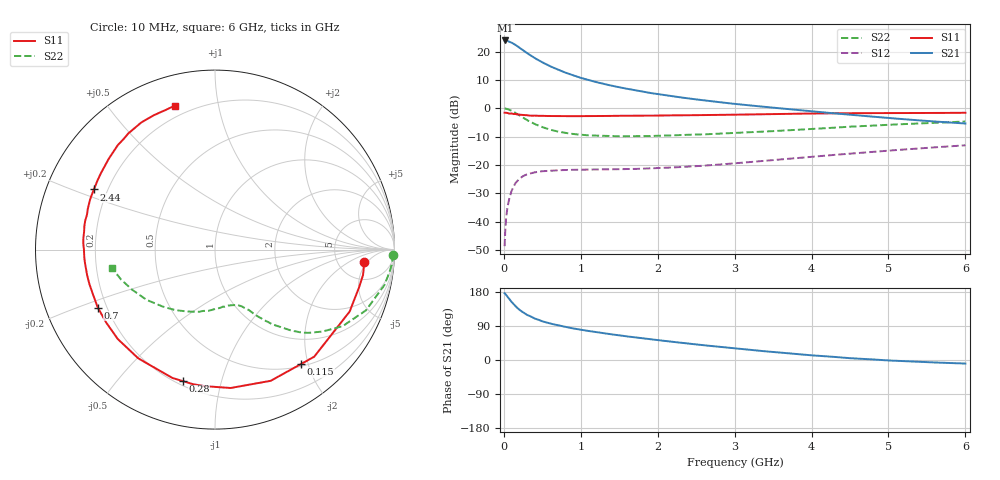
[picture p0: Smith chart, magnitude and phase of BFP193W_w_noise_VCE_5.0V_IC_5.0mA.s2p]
! Infineon Technologies  Discrete & RF Semiconductors
! BFP193W
! VCE = 5.0 V,  IC =  5.0 mA
! Common Emitter S-Parameters:  Jan 2016
# GHz  S  MA  R  50
!  f  S11  S21  S12  S22
! GHz  MAG  ANG  MAG  ANG  MAG  ANG  MAG  ANG
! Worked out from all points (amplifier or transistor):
!   210 points, 10 MHz to 6 GHz, reference 50 ohm
!   highest |S21| = 23.9 dB at 20 MHz (marker M1)
!   |S21| within 3 dB of that: start of sweep to 225.9 MHz
!   unconditionally stable (mu >= 1): 1.703 GHz to 4.395 GHz
!   at 185 MHz: K = 0.14, MSG = 23.5 dB, |S12| = -25.4 dB
!   at 1.52 GHz: K = 0.92, MSG = 14.4 dB, |S12| = -21.5 dB
!   at 6 GHz: K = 0.92, MSG = 3.8 dB, |S12| = -13.1 dB
!   lowest NFmin = 1.20 dB at 450 MHz
!   S11 on the Smith chart (normalised r, x): 10 MHz: 9, -4; 115 MHz: 0.54, -1.88; 280 MHz: 0.22, -0.76; 700 MHz: 0.17, -0.23; 2.44 GHz: 0.15, +0.23; 6 GHz: 0.14, +0.75
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0.01  0.8345 -4.8  15.64 176.3  0.0037 87.7  0.994 -1.6
0.02  0.8369 -9.7  15.68 174.4  0.0076 83.1  0.9879 -4.9
0.05  0.8258 -24.7  15.36 166.1  0.0188 76.9  0.9652 -11.7
0.1  0.8134 -47.2  14.38 153.4  0.0347 66.4  0.9069 -21.9
0.115  0.7976 -53.0  13.95 150.2  0.0384 62.8  0.8816 -24.4
0.15  0.7942 -67.0  13.14 142.1  0.0476 56.7  0.8299 -30.9
0.2  0.7759 -83.6  11.75 132.9  0.0567 49.4  0.7509 -37.5
0.28  0.7543 -103.8  9.837 121.9  0.0664 40.4  0.6437 -45.2
0.3  0.7535 -108.3  9.398 119.2  0.0683 38.4  0.6182 -46.8
0.4  0.7416 -125.2  7.682 109.5  0.074 32.0  0.5263 -52.4
0.44  0.7353 -130.1  7.169 106.8  0.0754 30.4  0.5012 -53.7
0.5  0.736 -137.4  6.435 102.1  0.0776 28.0  0.4642 -56.0
0.56  0.7302 -142.7  5.868 98.8  0.0786 26.4  0.437 -57.6
0.7  0.7285 -153.7  4.819 91.5  0.0807 23.8  0.3882 -60.6
1.02  0.7266 -169.5  3.379 79.3  0.0826 21.4  0.3395 -66.7
1.4  0.7342 177.8  2.501 67.7  0.084 22.6  0.3232 -73.9
2.02  0.744 162.4  1.761 52.0  0.0884 28.4  0.3281 -86.7
2.44  0.7536 153.6  1.466 42.5  0.0941 32.9  0.3424 -96.2
3.1  0.7738 141.3  1.157 28.9  0.1096 38.8  0.3712 -111.4
4.1  0.809 125.4  0.858 11.0  0.143 41.8  0.438 -135.0
5.1  0.8225 113.6  0.657 -2.1  0.1831 39.9  0.5185 -155.8
6  0.8323 105.7  0.538 -9.4  0.2221 36.1  0.5831 -169.8
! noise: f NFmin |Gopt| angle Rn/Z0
0.45  1.2  0.26  102  0.14
0.9  1.25  0.38  145  0.12
1.8  2.05  0.56  -161  0.12
